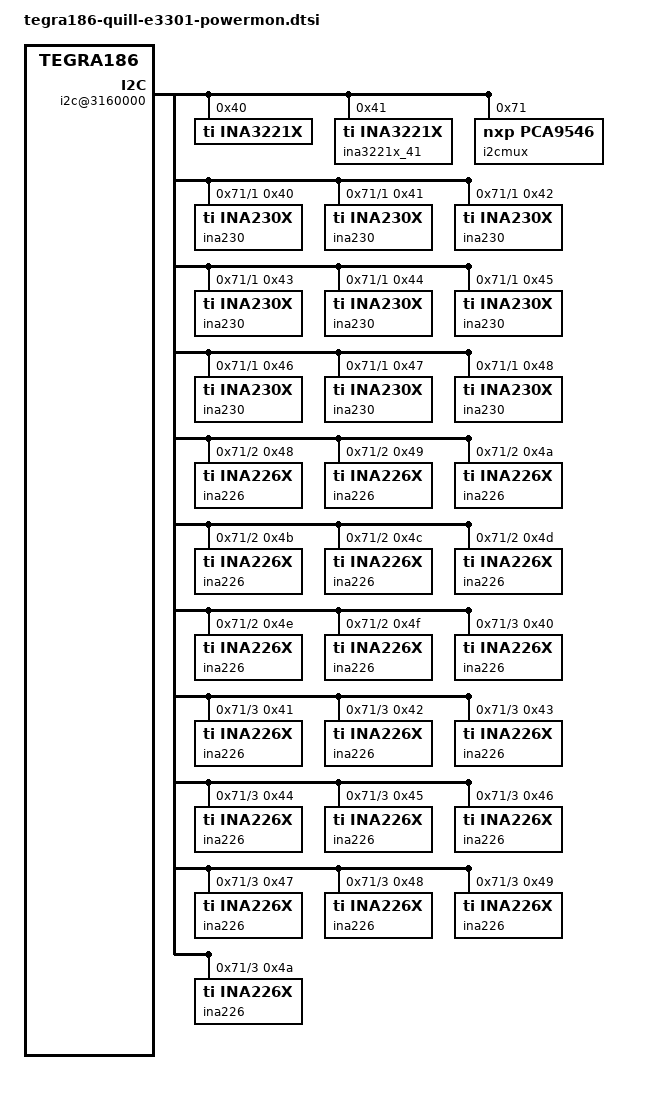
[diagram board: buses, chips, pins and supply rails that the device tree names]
/*
 * tegra186-quill-e3301-powermon.dtsi: Tegra186 power monitor dtsi file on Quill e3301
 *
 * Copyright (c) 2015, NVIDIA CORPORATION.  All rights reserved.
 *
 * This program is free software; you can redistribute it and/or modify
 * it under the terms of the GNU General Public License as published by
 * the Free Software Foundation; version 2 of the License.
 *
 * This program is distributed in the hope that it will be useful, but WITHOUT
 * ANY WARRANTY; without even the implied warranty of MERCHANTABILITY or
 * FITNESS FOR A PARTICULAR PURPOSE.  See the GNU General Public License for
 * more details.
 */

/ {
	i2c@3160000 {
		ina3221x@40 {
			compatible = "ti,ina3221x";
			reg = <0x40>;
			ti,trigger-config = <0x7003>;
			ti,continuous-config = <0x7c07>;
			ti,enable-forced-continuous;
			#address-cells = <1>;
			#size-cells = <0>;
			channel@0 {
				reg = <0x0>;
				ti,rail-name = "VDD_GPU_REG";
				ti,shunt-resistor-mohm = <1>;
			};
			channel@1 {
				reg = <0x1>;
				ti,rail-name = "VDD_SOC_REG";
				ti,shunt-resistor-mohm = <1>;
			};
			channel@2 {
				reg = <0x2>;
				ti,rail-name = "VDD_SDO";
				ti,shunt-resistor-mohm = <1>;
			};
		};

		ina3221x_41: ina3221x@41 {
			compatible = "ti,ina3221x";
			reg = <0x41>;
			ti,trigger-config = <0x7003>;
			ti,continuous-config = <0x7c07>;
			ti,enable-forced-continuous;
			#address-cells = <1>;
			#size-cells = <0>;
			channel@0 {
				reg = <0x0>;
				ti,rail-name = "VDD_IN_RS";
				ti,shunt-resistor-mohm = <1>;
			};
			channel@1 {
				reg = <0x1>;
				ti,rail-name = "VDD_CPU_REG";
				ti,shunt-resistor-mohm = <1>;
			};
			channel@2 {
				reg = <0x2>;
				ti,rail-name = "VDD_SRAM_REG";
				ti,shunt-resistor-mohm = <1>;
			};
		};

		i2cmux@71 {
			compatible = "nxp,pca9546";
			reg = <0x71>;
			#address-cells = <1>;
			#size-cells = <0>;
			i2c@0 {
				reg = <0>;
				i2c-mux,deselect-on-exit;
				#address-cells = <1>;
				#size-cells = <0>;
			};

			i2c@1 {
				reg = <1>;
				i2c-mux,deselect-on-exit;
				#address-cells = <1>;
				#size-cells = <0>;
				ina230@40{
					compatible = "ti,ina230x";
					reg = <0x40>;
					ti,rail-name = "VDD_3V3_ENET";
					ti,continuous-config = <0x0407>;
					ti,trigger-config = <0x0403>;
					ti,resistor = <1>;
					ti,calibration-data = <0x7FFF>;
					ti,power-lsb = <6866>;
					ti,divisor = <25>;
					ti,precision-multiplier = <1000>;
				};

				ina230@41{
					compatible = "ti,ina230x";
					reg = <0x41>;
					ti,rail-name = "VDD_3V3_EMMC_CORE";
					ti,continuous-config = <0x0407>;
					ti,trigger-config = <0x0403>;
					ti,resistor = <50>;
					ti,calibration-data = <0x7FFF>;
					ti,power-lsb = <6866>;
					ti,divisor = <25>;
					ti,precision-multiplier = <1000>;
				};

				ina230@42{
					compatible = "ti,ina230x";
					reg = <0x42>;
					ti,rail-name = "VDD_SYS_5V0";
					ti,continuous-config = <0x0407>;
					ti,trigger-config = <0x0403>;
					ti,resistor = <1>;
					ti,calibration-data = <0x7FFF>;
					ti,power-lsb = <6866>;
					ti,divisor = <25>;
					ti,precision-multiplier = <1000>;
				};

				ina230@43{
					compatible = "ti,ina230x";
					reg = <0x43>;
					ti,rail-name = "VDD_IN_RS";
					ti,continuous-config = <0x0407>;
					ti,trigger-config = <0x0403>;
					ti,resistor = <1>;
					ti,calibration-data = <0x7FFF>;
					ti,power-lsb = <6866>;
					ti,divisor = <25>;
					ti,precision-multiplier = <1000>;
				};

				ina230@44{
					compatible = "ti,ina230x";
					reg = <0x44>;
					ti,rail-name = "VDD_CVM_PREG_C2";
					ti,continuous-config = <0x0407>;
					ti,trigger-config = <0x0403>;
					ti,resistor = <1>;
					ti,calibration-data = <0x7FFF>;
					ti,power-lsb = <6866>;
					ti,divisor = <25>;
					ti,precision-multiplier = <1000>;
				};

				ina230@45{
					compatible = "ti,ina230x";
					reg = <0x45>;
					ti,rail-name = "SYS_3V8_AO";
					ti,continuous-config = <0x0407>;
					ti,trigger-config = <0x0403>;
					ti,resistor = <1>;
					ti,calibration-data = <0x7FFF>;
					ti,power-lsb = <6866>;
					ti,divisor = <25>;
					ti,precision-multiplier = <1000>;
				};

				ina230@46{
					compatible = "ti,ina230x";
					reg = <0x46>;
					ti,rail-name = "SYS_3V8_C2";
					ti,continuous-config = <0x0407>;
					ti,trigger-config = <0x0403>;
					ti,resistor = <1>;
					ti,calibration-data = <0x7FFF>;
					ti,power-lsb = <6866>;
					ti,divisor = <25>;
					ti,precision-multiplier = <1000>;
				};

				ina230@47{
					compatible = "ti,ina230x";
					reg = <0x47>;
					ti,rail-name = "VDD_CVM_PREG_C1";
					ti,continuous-config = <0x0407>;
					ti,trigger-config = <0x0403>;
					ti,resistor = <1>;
					ti,calibration-data = <0x7FFF>;
					ti,power-lsb = <6866>;
					ti,divisor = <25>;
					ti,precision-multiplier = <1000>;
				};

				ina230@48{
					compatible = "ti,ina230x";
					reg = <0x48>;
					ti,rail-name = "VDD_SYS_3V3_AO";
					ti,continuous-config = <0x0407>;
					ti,trigger-config = <0x0403>;
					ti,resistor = <10>;
					ti,calibration-data = <0x7FFF>;
					ti,power-lsb = <6866>;
					ti,divisor = <25>;
					ti,precision-multiplier = <1000>;
				};
			};

			i2c@2 {
				reg = <2>;
				i2c-mux,deselect-on-exit;
				#address-cells = <1>;
				#size-cells = <0>;
				ina226@48 {
					compatible = "ti,ina226x";
					reg = <0x48>;
					ti,rail-name = "VDD_SD0";
					ti,continuous-config = <0x0407>;
					ti,trigger-config = <0x0403>;
					ti,resistor = <1>;
					ti,calibration-data = <0x7FFF>;
					ti,power-lsb = <6866>;
					ti,divisor = <25>;
					ti,precision-multiplier = <1000>;
				};

				ina226@49 {
					compatible = "ti,ina226x";
					reg = <0x49>;
					ti,rail-name = "VDD_CPU_REG";
					ti,continuous-config = <0x0407>;
					ti,trigger-config = <0x0403>;
					ti,resistor = <1>;
					ti,calibration-data = <0x7FFF>;
					ti,power-lsb = <6866>;
					ti,divisor = <25>;
					ti,precision-multiplier = <1000>;
				};

				ina226@4A {
					compatible = "ti,ina226x";
					reg = <0x4A>;
					ti,rail-name = "VDD_SRAM_REG";
					ti,continuous-config = <0x0407>;
					ti,trigger-config = <0x0403>;
					ti,resistor = <1>;
					ti,calibration-data = <0x7FFF>;
					ti,power-lsb = <6866>;
					ti,divisor = <25>;
					ti,precision-multiplier = <1000>;
                                };

				ina226@4B {
					compatible = "ti,ina226x";
					reg = <0x4B>;
					ti,rail-name = "VDD_GPU_REG";
					ti,continuous-config = <0x0407>;
					ti,trigger-config = <0x0403>;
					ti,resistor = <1>;
					ti,calibration-data = <0x7FFF>;
					ti,power-lsb = <6866>;
					ti,divisor = <25>;
					ti,precision-multiplier = <1000>;
				};
				ina226@4C {
					compatible = "ti,ina226x";
					reg = <0x4C>;
					ti,rail-name = "VDD_SOC_REG";
					ti,continuous-config = <0x0407>;
					ti,trigger-config = <0x0403>;
					ti,resistor = <1>;
					ti,calibration-data = <0x7FFF>;
					ti,power-lsb = <6866>;
					ti,divisor = <25>;
					ti,precision-multiplier = <1000>;
				};
				ina226@4D {
					compatible = "ti,ina226x";
					reg = <0x4D>;
					ti,rail-name = "VDD_1V8_EMMC";
					ti,continuous-config = <0x0407>;
					ti,trigger-config = <0x0403>;
					ti,resistor = <100>;
					ti,calibration-data = <0x7FFF>;
					ti,power-lsb = <6866>;
					ti,divisor = <25>;
					ti,precision-multiplier = <1000>;
				};
				ina226@4E {
					compatible = "ti,ina226x";
					reg = <0x4E>;
					ti,rail-name = "VDD_1V05_PEX";
					ti,continuous-config = <0x0407>;
					ti,trigger-config = <0x0403>;
					ti,resistor = <10>;
					ti,calibration-data = <0x7FFF>;
					ti,power-lsb = <6866>;
					ti,divisor = <25>;
					ti,precision-multiplier = <1000>;
				};
				ina226@4F {
					compatible = "ti,ina226x";
					reg = <0x4F>;
					ti,rail-name = "PMIC_LDO6_OUT";
					ti,continuous-config = <0x0407>;
					ti,trigger-config = <0x0403>;
					ti,resistor = <50>;
					ti,calibration-data = <0x7FFF>;
					ti,power-lsb = <6866>;
					ti,divisor = <25>;
					ti,precision-multiplier = <1000>;
				};
			};

			i2c@3 {
				reg = <3>;
				i2c-mux,deselect-on-exit;
				#address-cells = <1>;
				#size-cells = <0>;
				ina226@40 {
					compatible = "ti,ina226x";
					reg = <0x40>;
					ti,rail-name = "VDD_RTC";
					ti,continuous-config = <0x0407>;
					ti,trigger-config = <0x0403>;
					ti,resistor = <100>;
					ti,calibration-data = <0x7FFF>;
					ti,power-lsb = <6866>;
					ti,divisor = <25>;
					ti,precision-multiplier = <1000>;
				};

				ina226@41 {
					compatible = "ti,ina226x";
					reg = <0x41>;
					ti,rail-name = "VDD_1V1_SD0_OUT";
					ti,continuous-config = <0x0407>;
					ti,trigger-config = <0x0403>;
					ti,resistor = <1>;
					ti,calibration-data = <0x7FFF>;
					ti,power-lsb = <6866>;
					ti,divisor = <25>;
					ti,precision-multiplier = <1000>;
				};

				ina226@42 {
					compatible = "ti,ina226x";
					reg = <0x42>;
					ti,rail-name = "VDD_GPU";
					ti,continuous-config = <0x0407>;
					ti,trigger-config = <0x0403>;
					ti,resistor = <1>;
					ti,calibration-data = <0x7FFF>;
					ti,power-lsb = <6866>;
					ti,divisor = <25>;
					ti,precision-multiplier = <1000>;
				};

				ina226@43 {
					compatible = "ti,ina226x";
					reg = <0x43>;
					ti,rail-name = "VDD_MCPU";
					ti,continuous-config = <0x0407>;
					ti,trigger-config = <0x0403>;
					ti,resistor = <1>;
					ti,calibration-data = <0x7FFF>;
					ti,power-lsb = <6866>;
					ti,divisor = <25>;
					ti,precision-multiplier = <1000>;
				};

				ina226@44 {
					compatible = "ti,ina226x";
					reg = <0x44>;
					ti,rail-name = "VDD_SOC";
					ti,continuous-config = <0x0407>;
					ti,trigger-config = <0x0403>;
					ti,resistor = <1>;
					ti,calibration-data = <0x7FFF>;
					ti,power-lsb = <6866>;
					ti,divisor = <25>;
					ti,precision-multiplier = <1000>;
				};

				ina226@45 {
					compatible = "ti,ina226x";
					reg = <0x45>;
					ti,rail-name = "VDD_1V8_SD2";
					ti,continuous-config = <0x0407>;
					ti,trigger-config = <0x0403>;
					ti,resistor = <1>;
					ti,calibration-data = <0x7FFF>;
					ti,power-lsb = <6866>;
					ti,divisor = <25>;
					ti,precision-multiplier = <1000>;
				};

				ina226@46 {
					compatible = "ti,ina226x";
					reg = <0x46>;
					ti,rail-name = "VDD_SRAM";
					ti,continuous-config = <0x0407>;
					ti,trigger-config = <0x0403>;
					ti,resistor = <1>;
					ti,calibration-data = <0x7FFF>;
					ti,power-lsb = <6866>;
					ti,divisor = <25>;
					ti,precision-multiplier = <1000>;
				};
				ina226@47 {
					compatible = "ti,ina226x";
					reg = <0x47>;
					ti,rail-name = "VDD_BCPU";
					ti,continuous-config = <0x0407>;
					ti,trigger-config = <0x0403>;
					ti,resistor = <1>;
					ti,calibration-data = <0x7FFF>;
					ti,power-lsb = <6866>;
					ti,divisor = <25>;
					ti,precision-multiplier = <1000>;
				};
				ina226@48 {
					compatible = "ti,ina226x";
					reg = <0x48>;
					ti,rail-name = "VDD_VCLAMP_USB";
					ti,continuous-config = <0x0407>;
					ti,trigger-config = <0x0403>;
					ti,resistor = <100>;
					ti,calibration-data = <0x7FFF>;
					ti,power-lsb = <6866>;
					ti,divisor = <25>;
					ti,precision-multiplier = <1000>;
				};
				ina226@49 {
					compatible = "ti,ina226x";
					reg = <0x49>;
					ti,rail-name = "VDD_1V8_HDMI_DP";
					ti,continuous-config = <0x0407>;
					ti,trigger-config = <0x0403>;
					ti,resistor = <50>;
					ti,calibration-data = <0x7FFF>;
					ti,power-lsb = <6866>;
					ti,divisor = <25>;
					ti,precision-multiplier = <1000>;
				};
				ina226@4A {
					compatible = "ti,ina226x";
					reg = <0x4A>;
					ti,rail-name = "VDD_1V8_SD2_OUT_DDR";
					ti,continuous-config = <0x0407>;
					ti,trigger-config = <0x0403>;
					ti,resistor = <10>;
					ti,calibration-data = <0x7FFF>;
					ti,power-lsb = <6866>;
					ti,divisor = <25>;
					ti,precision-multiplier = <1000>;
				};
			};
		};
	};
};
